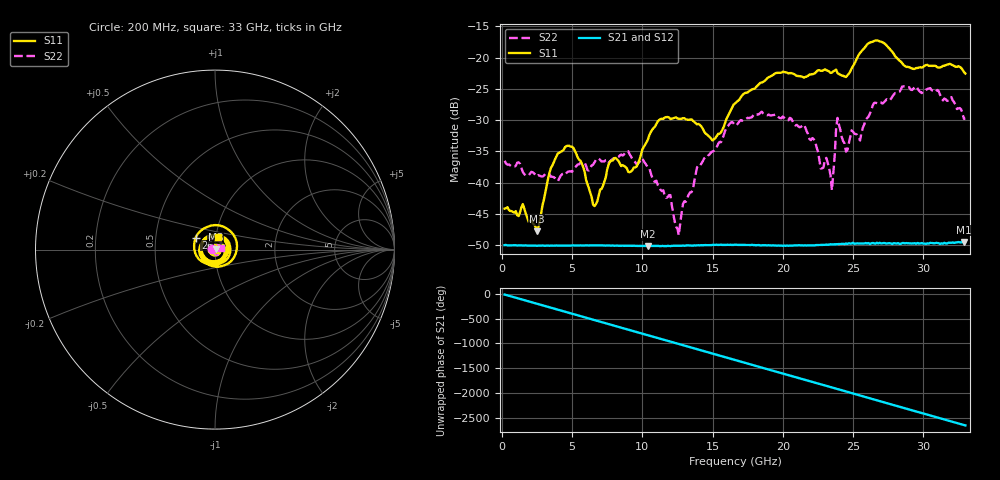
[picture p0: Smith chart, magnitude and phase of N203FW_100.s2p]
# GHZ S RI R 50
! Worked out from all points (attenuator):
!   329 points, 200 MHz to 33 GHz, reference 50 ohm
!   highest |S21| = -49.44 dB at 32.9 GHz (marker M1); lowest = -50.1 dB at 10.4 GHz (marker M2)
!   lowest |S11| = -47.8 dB at 2.5 GHz (marker M3), VSWR 1.01, Z = 50.3 + j0.218 ohm
!   |S11| at or under -10 dB: start of sweep to end of sweep
!   |S22| runs from -48.4 to -24.6 dB; largest |S21 - S12| = 8.8e-05
!   S11 on the Smith chart (normalised r, x): 200 MHz: 1.01, +0.00; 26 GHz: 0.80, +0.11; 33 GHz: 1.03, +0.15
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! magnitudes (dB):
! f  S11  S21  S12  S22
! 200 MHz  -44.1  -50.0  -49.9  -36.5
! 2.5 GHz  -47.8  -50.1  -50.0  -39.0
! 4 GHz  -35.3  -50.0  -50.0  -39.7
! 5.7 GHz  -37.0  -50.0  -50.0  -36.7
! 6.6 GHz  -43.7  -50.0  -50.0  -36.7
! 7.7 GHz  -36.7  -50.0  -50.0  -36.6
! 9.2 GHz  -38.2  -50.1  -50.0  -35.8
! 10.4 GHz  -33.1  -50.1  -50.1  -37.5
! 11.2 GHz  -30.0  -50.1  -50.1  -40.7
! 12.6 GHz  -29.8  -50.1  -50.1  -48.4
! 13.9 GHz  -30.7  -50.0  -50.0  -37.5
! 15 GHz  -33.2  -49.9  -49.9  -35.0
! 16.6 GHz  -27.3  -49.9  -49.9  -30.8
! 22.1 GHz  -22.7  -50.0  -50.0  -32.9
! 23.5 GHz  -22.4  -49.9  -49.8  -41.2
! 23.9 GHz  -22.5  -49.8  -49.8  -29.6
! 24.5 GHz  -23.1  -49.7  -49.7  -35.0
! 26 GHz  -17.9  -49.7  -49.6  -29.7
! 27.6 GHz  -18.6  -49.7  -49.7  -26.9
! 30.5 GHz  -21.3  -49.6  -49.7  -24.9
! 32.9 GHz  -22.3  -49.4  -49.4  -29.8
! 33 GHz  -22.6  -49.5  -49.5  -29.8
